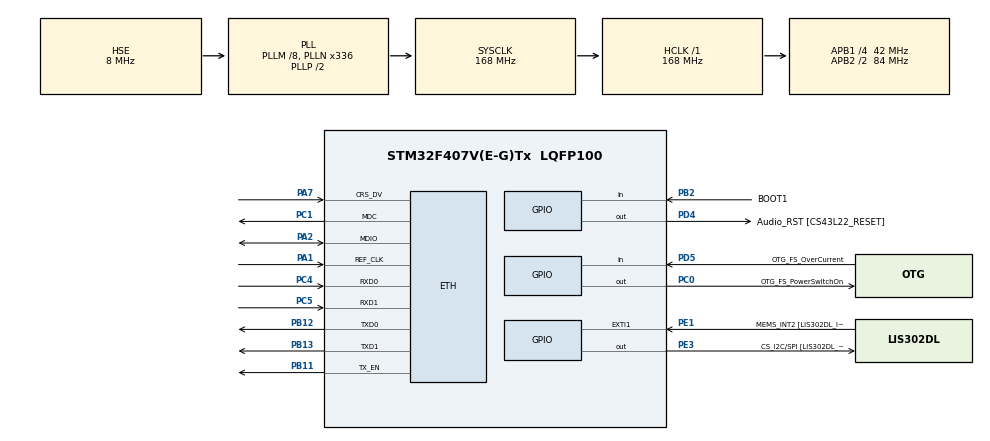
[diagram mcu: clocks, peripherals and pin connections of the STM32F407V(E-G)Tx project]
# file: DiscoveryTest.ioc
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ETH.MediaInterface=ETH_MEDIA_INTERFACE_RMII
ETH.PhyAddress=0
FREERTOS.HEAP_NUMBER=5
FREERTOS.Tasks01=defaultTask,0,128,StartDefaultTask,Default,NULL
LWIP.CHECKSUM_CHECK_IP=1
LWIP.CHECKSUM_GEN_IP=1
LWIP.GATEWAY_ADDRESS=192.168.055.001
LWIP.IP_ADDRESS=192.168.055.114
LWIP.LWIP_DHCP=0
LWIP.MEMP_NUM_TCP_SEG=24
LWIP.NETMASK_ADDRESS=255.255.255.000
LWIP.TCP_MSS=460
LWIP.TCP_SND_BUF=1840
LWIP.TCP_WND=2048
LWIP.Version=v2.0.3_Cube
Mcu.Family=STM32F4
Mcu.Name=STM32F407V(E-G)Tx
Mcu.Package=LQFP100
NVIC.ETH_IRQn=true\:5\:0\:false\:false\:true\:true\:false\:true
NVIC.PriorityGroup=NVIC_PRIORITYGROUP_4
NVIC.TIM1_UP_TIM10_IRQn=true\:0\:0\:false\:false\:true\:false\:false\:true
NVIC.TimeBase=TIM1_UP_TIM10_IRQn
NVIC.TimeBaseIP=TIM1
PA1.Mode=RMII
PA1.Signal=ETH_REF_CLK
PA13.GPIO_Label=SWDIO
PA13.Mode=Serial_Wire
PA13.Signal=SYS_JTMS-SWDIO
PA14.GPIO_Label=SWCLK
PA14.Mode=Serial_Wire
PA14.Signal=SYS_JTCK-SWCLK
PA2.Mode=RMII
PA2.Signal=ETH_MDIO
PA7.Mode=RMII
PA7.Signal=ETH_CRS_DV
PB11.Mode=RMII
PB11.Signal=ETH_TX_EN
PB12.Mode=RMII
PB12.Signal=ETH_TXD0
PB13.Mode=RMII
PB13.Signal=ETH_TXD1
PB2.GPIO_Label=BOOT1
PB2.GPIO_Mode=GPIO_MODE_INPUT
PB2.GPIO_PuPd=GPIO_NOPULL
PB2.Signal=GPIO_Input
PC0.GPIO_Label=OTG_FS_PowerSwitchOn
PC0.GPIO_PuPd=GPIO_NOPULL
PC0.GPIO_Speed=GPIO_SPEED_FREQ_LOW
PC0.PinState=GPIO_PIN_SET
PC0.Signal=GPIO_Output
PC1.Mode=RMII
PC1.Signal=ETH_MDC
PC14-OSC32_IN.GPIO_Label=PC14-OSC32_IN
PC14-OSC32_IN.Mode=LSE-External-Oscillator
PC14-OSC32_IN.Signal=RCC_OSC32_IN
PC15-OSC32_OUT.GPIO_Label=PC15-OSC32_OUT
PC15-OSC32_OUT.Mode=LSE-External-Oscillator
PC15-OSC32_OUT.Signal=RCC_OSC32_OUT
PC4.Mode=RMII
PC4.Signal=ETH_RXD0
PC5.Mode=RMII
PC5.Signal=ETH_RXD1
PD4.GPIO_Label=Audio_RST [CS43L22_RESET]
PD4.GPIO_PuPd=GPIO_NOPULL
PD4.GPIO_Speed=GPIO_SPEED_FREQ_LOW
PD4.Signal=GPIO_Output
PD5.GPIO_Label=OTG_FS_OverCurrent
PD5.GPIO_Mode=GPIO_MODE_INPUT
PD5.GPIO_PuPd=GPIO_NOPULL
PD5.Signal=GPIO_Input
PE1.GPIO_Label=MEMS_INT2 [LIS302DL_INT2]
PE1.GPIO_ModeDefaultEXTI=GPIO_MODE_EVT_RISING
PE1.GPIO_PuPd=GPIO_NOPULL
PE1.Signal=GPXTI1
PE3.GPIO_Label=CS_I2C/SPI [LIS302DL_CS_I2C/SPI]
PE3.GPIO_PuPd=GPIO_NOPULL
PE3.GPIO_Speed=GPIO_SPEED_FREQ_LOW
PE3.Signal=GPIO_Output
PH0-OSC_IN.GPIO_Label=PH0-OSC_IN
PH0-OSC_IN.Mode=HSE-External-Oscillator
PH0-OSC_IN.Signal=RCC_OSC_IN
PH1-OSC_OUT.GPIO_Label=PH1-OSC_OUT
PH1-OSC_OUT.Mode=HSE-External-Oscillator
PH1-OSC_OUT.Signal=RCC_OSC_OUT
ProjectManager.HeapSize=0x200
ProjectManager.StackSize=0x400
ProjectManager.TargetToolchain=STM32CubeIDE
RCC.48MHZClocksFreq_Value=48000000
RCC.AHBFreq_Value=168000000
RCC.APB1CLKDivider=RCC_HCLK_DIV4
RCC.APB1Freq_Value=42000000
RCC.APB1TimFreq_Value=84000000
RCC.APB2CLKDivider=RCC_HCLK_DIV2
RCC.APB2Freq_Value=84000000
RCC.APB2TimFreq_Value=168000000
RCC.CortexFreq_Value=168000000
RCC.HCLKFreq_Value=168000000
RCC.HSE_VALUE=8000000
RCC.HSI_VALUE=16000000
RCC.PLLM=8
RCC.PLLN=336
RCC.PLLQ=7
RCC.PLLSourceVirtual=RCC_PLLSOURCE_HSE
RCC.SYSCLKFreq_VALUE=168000000
RCC.SYSCLKSource=RCC_SYSCLKSOURCE_PLLCLK
RCC.VCOOutputFreq_Value=336000000
VP_FREERTOS_VS_CMSIS_V1.Mode=CMSIS_V1
VP_LWIP_VS_Enabled.Mode=Enabled
VP_SYS_VS_tim1.Mode=TIM1
board=STM32F407G-DISC1

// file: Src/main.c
/* USER CODE BEGIN Header */
/**
  ******************************************************************************
  * @file           : main.c
  * @brief          : Main program body
  ******************************************************************************
  * @attention
  *
  * <h2><center>&copy; Copyright (c) 2019 STMicroelectronics.
  * All rights reserved.</center></h2>
  *
  * This software component is licensed by ST under BSD 3-Clause license,
  * the "License"; You may not use this file except in compliance with the
  * License. You may obtain a copy of the License at:
  *                        opensource.org/licenses/BSD-3-Clause
  *
  ******************************************************************************
  */
/* USER CODE END Header */

#include "main.h"
#include "cmsis_os.h"
#include "lwip.h"

/* USER CODE BEGIN Includes */
#include "stdint.h"
#include "string.h"
#include "lwip/opt.h"
#include "lwip/arch.h"
#include "lwip/api.h"
#include "lwip/inet.h"
#include "lwip/sockets.h"
/* USER CODE END Includes */

osThreadId defaultTaskHandle;
/* USER CODE BEGIN PV */
static __attribute__ ((used,section(".user_heap_stack"))) uint8_t heap_sram1[32*1024];

osThreadId ThreadRecvHandle;

typedef struct struct_sock_t {
  uint16_t y_pos;
  uint16_t port;
} struct_sock;
struct_sock sock01;

typedef struct struct_recv_socket_t {
  int sock;
  uint16_t y_pos;
} struct_recv_socket;
struct_recv_socket recv_socket01;

typedef struct struct_client_socket_t {
  struct sockaddr_in remotehost;
  socklen_t sockaddrsize;
  int accept_sock;
  uint16_t y_pos;
} struct_client_socket;
struct_client_socket client_socket01;

/* USER CODE END PV */

void SystemClock_Config(void);
static void MX_GPIO_Init(void);
void StartDefaultTask(void const * argument);

int main(void)
{
  /* USER CODE BEGIN 1 */
	  HeapRegion_t xHeapRegions[] =
	  {
	      {  heap_sram1, sizeof(heap_sram1) },
	      { NULL, 0 }
	  };
	  vPortDefineHeapRegions( xHeapRegions );
  /* USER CODE END 1 */

  /* MCU Configuration--------------------------------------------------------*/

  /* Reset of all peripherals, Initializes the Flash interface and the Systick. */
  HAL_Init();

  /* Configure the system clock */
  SystemClock_Config();

  /* Initialize all configured peripherals */
  MX_GPIO_Init();

  /* Create the thread(s) */
  /* definition and creation of defaultTask */
  osThreadDef(defaultTask, StartDefaultTask, osPriorityNormal, 0, 128);
  defaultTaskHandle = osThreadCreate(osThread(defaultTask), NULL);

  /* Start scheduler */
  osKernelStart();

  /* We should never get here as control is now taken by the scheduler */

  /* Infinite loop */
  while (1)
  {

  }
}

void SystemClock_Config(void)
{
  RCC_OscInitTypeDef RCC_OscInitStruct = {0};
  RCC_ClkInitTypeDef RCC_ClkInitStruct = {0};

  /** Configure the main internal regulator output voltage
  */
  __HAL_RCC_PWR_CLK_ENABLE();
  __HAL_PWR_VOLTAGESCALING_CONFIG(PWR_REGULATOR_VOLTAGE_SCALE1);
  /** Initializes the CPU, AHB and APB busses clocks
  */
  RCC_OscInitStruct.OscillatorType = RCC_OSCILLATORTYPE_HSE;
  RCC_OscInitStruct.HSEState = RCC_HSE_ON;
  RCC_OscInitStruct.PLL.PLLState = RCC_PLL_ON;
  RCC_OscInitStruct.PLL.PLLSource = RCC_PLLSOURCE_HSE;
  RCC_OscInitStruct.PLL.PLLM = 8;
  RCC_OscInitStruct.PLL.PLLN = 336;
  RCC_OscInitStruct.PLL.PLLP = RCC_PLLP_DIV2;
  RCC_OscInitStruct.PLL.PLLQ = 7;
  if (HAL_RCC_OscConfig(&RCC_OscInitStruct) != HAL_OK)
  {
    Error_Handler();
  }
  /** Initializes the CPU, AHB and APB busses clocks
  */
  RCC_ClkInitStruct.ClockType = RCC_CLOCKTYPE_HCLK|RCC_CLOCKTYPE_SYSCLK
                              |RCC_CLOCKTYPE_PCLK1|RCC_CLOCKTYPE_PCLK2;
  RCC_ClkInitStruct.SYSCLKSource = RCC_SYSCLKSOURCE_PLLCLK;
  RCC_ClkInitStruct.AHBCLKDivider = RCC_SYSCLK_DIV1;
  RCC_ClkInitStruct.APB1CLKDivider = RCC_HCLK_DIV4;
  RCC_ClkInitStruct.APB2CLKDivider = RCC_HCLK_DIV2;

  if (HAL_RCC_ClockConfig(&RCC_ClkInitStruct, FLASH_LATENCY_5) != HAL_OK)
  {
    Error_Handler();
  }
}

static void MX_GPIO_Init(void)
{
  GPIO_InitTypeDef GPIO_InitStruct = {0};

  /* GPIO Ports Clock Enable */
  __HAL_RCC_GPIOE_CLK_ENABLE();
  __HAL_RCC_GPIOC_CLK_ENABLE();
  __HAL_RCC_GPIOH_CLK_ENABLE();
  __HAL_RCC_GPIOA_CLK_ENABLE();
  __HAL_RCC_GPIOB_CLK_ENABLE();
  __HAL_RCC_GPIOD_CLK_ENABLE();

  /*Configure GPIO pin Output Level */
  HAL_GPIO_WritePin(CS_I2C_SPI_GPIO_Port, CS_I2C_SPI_Pin, GPIO_PIN_RESET);

  /*Configure GPIO pin Output Level */
  HAL_GPIO_WritePin(OTG_FS_PowerSwitchOn_GPIO_Port, OTG_FS_PowerSwitchOn_Pin, GPIO_PIN_SET);

  /*Configure GPIO pin Output Level */
  HAL_GPIO_WritePin(Audio_RST_GPIO_Port, Audio_RST_Pin, GPIO_PIN_RESET);

  /*Configure GPIO pin : CS_I2C_SPI_Pin */
  GPIO_InitStruct.Pin = CS_I2C_SPI_Pin;
  GPIO_InitStruct.Mode = GPIO_MODE_OUTPUT_PP;
  GPIO_InitStruct.Pull = GPIO_NOPULL;
  GPIO_InitStruct.Speed = GPIO_SPEED_FREQ_LOW;
  HAL_GPIO_Init(CS_I2C_SPI_GPIO_Port, &GPIO_InitStruct);

  /*Configure GPIO pin : OTG_FS_PowerSwitchOn_Pin */
  GPIO_InitStruct.Pin = OTG_FS_PowerSwitchOn_Pin;
  GPIO_InitStruct.Mode = GPIO_MODE_OUTPUT_PP;
  GPIO_InitStruct.Pull = GPIO_NOPULL;
  GPIO_InitStruct.Speed = GPIO_SPEED_FREQ_LOW;
  HAL_GPIO_Init(OTG_FS_PowerSwitchOn_GPIO_Port, &GPIO_InitStruct);

  /*Configure GPIO pin : BOOT1_Pin */
  GPIO_InitStruct.Pin = BOOT1_Pin;
  GPIO_InitStruct.Mode = GPIO_MODE_INPUT;
  GPIO_InitStruct.Pull = GPIO_NOPULL;
  HAL_GPIO_Init(BOOT1_GPIO_Port, &GPIO_InitStruct);

  /*Configure GPIO pin : Audio_RST_Pin */
  GPIO_InitStruct.Pin = Audio_RST_Pin;
  GPIO_InitStruct.Mode = GPIO_MODE_OUTPUT_PP;
  GPIO_InitStruct.Pull = GPIO_NOPULL;
  GPIO_InitStruct.Speed = GPIO_SPEED_FREQ_LOW;
  HAL_GPIO_Init(Audio_RST_GPIO_Port, &GPIO_InitStruct);

  /*Configure GPIO pin : OTG_FS_OverCurrent_Pin */
  GPIO_InitStruct.Pin = OTG_FS_OverCurrent_Pin;
  GPIO_InitStruct.Mode = GPIO_MODE_INPUT;
  GPIO_InitStruct.Pull = GPIO_NOPULL;
  HAL_GPIO_Init(OTG_FS_OverCurrent_GPIO_Port, &GPIO_InitStruct);

  /*Configure GPIO pin : MEMS_INT2_Pin */
  GPIO_InitStruct.Pin = MEMS_INT2_Pin;
  GPIO_InitStruct.Mode = GPIO_MODE_EVT_RISING;
  GPIO_InitStruct.Pull = GPIO_NOPULL;
  HAL_GPIO_Init(MEMS_INT2_GPIO_Port, &GPIO_InitStruct);

}

/* USER CODE BEGIN 4 */
//---------------------------------------------------------------
static void recv_thread(void *arg)
{
//  struct_out *qstruct;
  struct_recv_socket *arg_recv_socket;
  arg_recv_socket = (struct_recv_socket*) arg;
  int recv_data;
  char data_buffer[30] = {};
  for(;;)
  {
    recv_data = recv(arg_recv_socket->sock,data_buffer,sizeof(data_buffer),0);
    if(recv_data > 0)
    {
    	//====DATA RECEIVED====
      data_buffer[recv_data-1] = 0;
//      qstruct = osMailAlloc(strout_Queue, osWaitForever);
//      sprintf(qstruct->str,"%-20s", (char*)data_buffer);
//      qstruct->y_pos = arg_recv_socket->y_pos;
//      qstruct->x_pos = 10;
//      qstruct->sfont = Font24;
//      osMailPut(strout_Queue, qstruct);
    }
  }
}

static void recv_func_c(int sock)
{
//  struct_out *qstruct;

	int recv_data;
	char data_buffer[30] = {};

	recv_data = recv(sock,data_buffer,sizeof(data_buffer),0);
	if(recv_data > 0)
	{
		//====DATA RECEIVED====
	  data_buffer[recv_data-1] = 0;
	}

}
static void recv_func_s(struct_client_socket *arg_client_socket)
{
	char out_buffer[30] = {};
	  int buflen = 30;
	  int ret, accept_sock;
	  struct sockaddr_in remotehost;
	  socklen_t sockaddrsize;
	  remotehost = arg_client_socket->remotehost;
	  sockaddrsize  = arg_client_socket->sockaddrsize;
	  accept_sock = arg_client_socket->accept_sock;

	    ret = recvfrom( accept_sock,out_buffer, buflen, 0, (struct sockaddr *)&remotehost, &sockaddrsize);

	    if(ret > 0)
	    	{
	    		//====DATA RECEIVED====
	    	out_buffer[ret-1] = 0;
	    	}
}
//---------------------------------------------------------------
static void client_thread(void *arg)
{

  int sock;
  int ret;
  struct sockaddr_in localhost, remotehost;
  uint32_t syscnt = 0;
  char buf[] = "12345678901234567890123456789012345678901234567890"
		  "12345678901234567890123456789012345678901234567890"
		  "12345678901234567890123456789012345678901234567890"
		  "12345678901234567890123456789012345678901234567890"
		  "12345678901234567890123456789012345678901234567890"
		  "12345678901234567890123456789012345678901234567890";

  memset(&localhost, 0, sizeof(struct sockaddr_in));
  localhost.sin_family = AF_INET;
  localhost.sin_port = htons(11411);
  localhost.sin_addr.s_addr = INADDR_ANY;

  memset(&remotehost, 0, sizeof(struct sockaddr_in));
  remotehost.sin_family = AF_INET;
  remotehost.sin_port = htons(11511);

  ip4addr_aton("192.168.55.10",(ip4_addr_t*)&remotehost.sin_addr);

  osDelay(100);

	for(;;){
		if ((sock = socket(AF_INET,SOCK_STREAM, 0)) >= 0)
		{

			osDelay(100);
			lwip_fcntl(sock, F_SETFL, (lwip_fcntl(sock, F_GETFL, 0)| O_NONBLOCK));
			connect(sock, (struct sockaddr *)&remotehost,sizeof(struct sockaddr_in));
			if (errno== EINPROGRESS || errno == 0)
			{
				for(;;){
					osDelay(500);
					recv_func_c(sock);
					if (errno != EINPROGRESS && errno != 0){
						if(errno == ECONNRESET)
						{
							break;
						}
						if(errno == EAGAIN)
						{
							osDelay(50);
						}
						else
						{
							break;
						}
					}

					ret = write(sock,(void *) buf,strlen(buf));
					if (errno != EINPROGRESS && errno != 0){
						if(errno == ECONNRESET)
						{
							break;
						}
						if(errno == EAGAIN)
						{
							osDelay(50);
						}
						else
						{
							break;
						}
					}

				}
			}
			close(sock);
			osDelay(1000);
		}
	}
}
//---------------------------------------------------------------
//---------------------------------------------------------------
static void server_thread(void *arg)
{

  int sock, accept_sock;
  struct sockaddr_in localhost, remotehost;
  socklen_t sockaddrsize;

  char buf[] = "12345678901234567890123456789012345678901234567890"
		  "12345678901234567890123456789012345678901234567890"
		  "12345678901234567890123456789012345678901234567890"
		  "12345678901234567890123456789012345678901234567890"
		  "12345678901234567890123456789012345678901234567890"
		  "12345678901234567890123456789012345678901234567890";

  memset(&localhost, 0, sizeof(struct sockaddr_in));
  localhost.sin_family = AF_INET;
  localhost.sin_port = htons(11511);
  localhost.sin_addr.s_addr = INADDR_ANY;

  osDelay(100);

	  if ((sock = socket(AF_INET,SOCK_STREAM, 0)) >= 0)
	  {
		osDelay(100);
		if (bind(sock, (struct sockaddr *)&localhost, sizeof(struct sockaddr_in)) ==  0)
		{

			listen(sock, 5);
			for(;;)
			{
				accept_sock = accept(sock, (struct sockaddr *)&remotehost, (socklen_t *)&sockaddrsize);
				if(accept_sock >= 0)
				{
					recv_func_c(accept_sock);
					write(accept_sock,(void *) buf,strlen(buf));
					osDelay(100);
				}
				int ret = close(accept_sock);
			}

		}
	  int ret = close(accept_sock);
	  osDelay(1000);
	  }
}
//---------------------------------------------------------------

/* USER CODE END 4 */

void StartDefaultTask(void const * argument)
{

  /* init code for LWIP */
  MX_LWIP_Init();

  /* USER CODE BEGIN 5 */
  sys_thread_new("client_thread", client_thread, 0, DEFAULT_THREAD_STACKSIZE * 2, osPriorityNormal);
  sys_thread_new("server_thread", server_thread, 0, DEFAULT_THREAD_STACKSIZE * 2, osPriorityNormal);
  /* Infinite loop */
  for(;;)
  {
    osDelay(1);
  }
  /* USER CODE END 5 */
}

void HAL_TIM_PeriodElapsedCallback(TIM_HandleTypeDef *htim)
{
  if (htim->Instance == TIM1) {
    HAL_IncTick();
  }
}

void Error_Handler(void)
{
}

/************************ (C) COPYRIGHT STMicroelectronics *****END OF FILE****/
